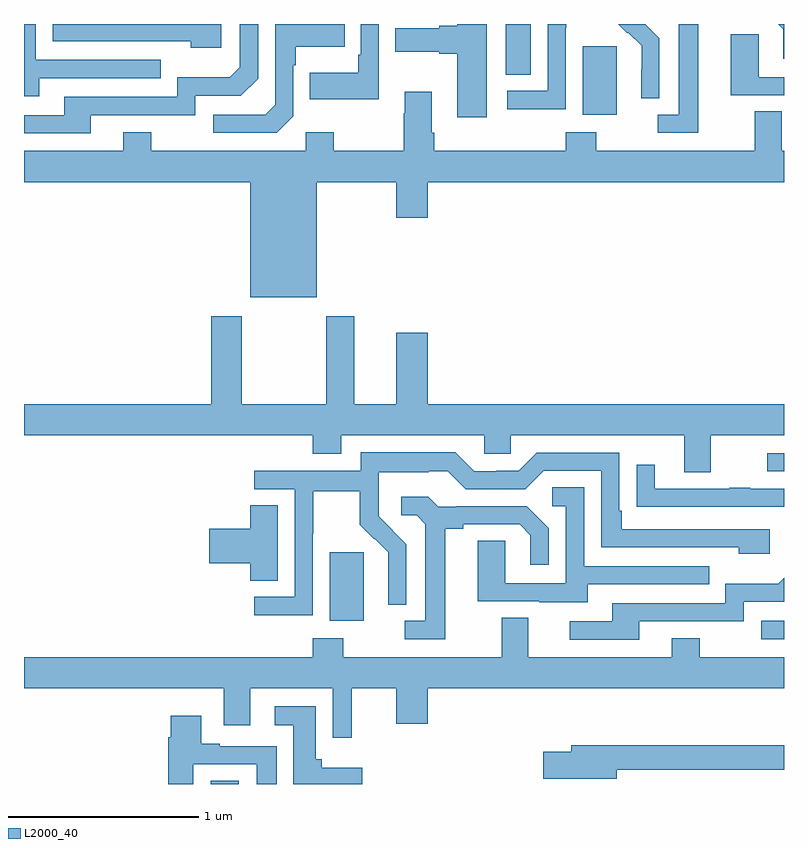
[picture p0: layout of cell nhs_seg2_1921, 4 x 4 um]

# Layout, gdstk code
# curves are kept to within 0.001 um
import gdstk
lib = gdstk.Library(unit=1e-6, precision=1e-09)
def R(c, l, rs):  # rectangles x0, y0, x1, y1
    for r in rs: c.add(gdstk.rectangle(r[:2], r[2:], *l))
def P(c, l, *ps):  # polygons
    for p in ps: c.add(gdstk.Polygon(p, *l))
L2000_40 = (2000, 40)

nhs_seg2_1921 = lib.new_cell('nhs_seg2_1921')
R(nhs_seg2_1921, L2000_40, [(211.982,645.8,212.131,645.818), (214.881,646.563,215,646.659), (212.609,646.658,212.788,647.019), (214.911,647.445,215,647.541), (213.941,649.322,214.12,649.683), (213.536,649.534,213.667,649.8)])
P(nhs_seg2_1921, L2000_40, [(213.436,649.8),(213.281,649.8),(213.281,649.79),(213.185,649.79),(213.185,649.777),(212.955,649.777),(212.955,649.655),(213.185,649.655),(213.185,649.643),(213.281,649.643),(213.281,649.308),(213.436,649.308)],
  [(211.351,649.32),(211.902,649.32),(211.902,649.422),(212.142,649.422),(212.232,649.512),(212.232,649.8),(212.136,649.8),(212.136,649.572),(212.083,649.519),(211.806,649.519),(211.806,649.416),(211.211,649.416),(211.211,649.32),(211,649.32),(211,649.224),(211.351,649.224)],
  [(212.038,649.8),(211.152,649.8),(211.152,649.71),(211.877,649.71),(211.877,649.676),(212.038,649.676)],
  [(214.549,649.8),(214.445,649.8),(214.445,649.323),(214.335,649.323),(214.335,649.227),(214.549,649.227)],
  [(211.081,649.515),(211.721,649.515),(211.721,649.611),(211.062,649.611),(211.062,649.8),(211,649.8),(211,649.421),(211.081,649.421)],
  [(212.868,649.8),(212.772,649.8),(212.772,649.639),(212.76,649.639),(212.76,649.543),(212.503,649.543),(212.503,649.403),(212.868,649.403)],
  [(215,649.8),(214.97,649.8),(214.997,649.773),(214.997,649.617),(215,649.617)],
  [(212.418,649.314),(212.418,649.583),(212.431,649.583),(212.431,649.679),(212.687,649.679),(212.687,649.8),(212.322,649.8),(212.322,649.374),(212.271,649.323),(211.995,649.323),(211.995,649.227),(212.331,649.227)],
  [(213.852,649.78),(213.855,649.78),(213.855,649.8),(213.756,649.8),(213.756,649.449),(213.543,649.449),(213.543,649.351),(213.852,649.351)],
  [(214.344,649.726),(214.271,649.799),(214.272,649.8),(214.128,649.8),(214.176,649.752),(214.179,649.755),(214.25,649.685),(214.25,649.562),(214.248,649.562),(214.248,649.408),(214.344,649.408)],
  [(215,649.521),(214.866,649.521),(214.866,649.745),(214.721,649.745),(214.721,649.425),(215,649.425)],
  [(212.542,648.968),(212.96,648.968),(212.96,648.78),(213.124,648.78),(213.124,648.968),(215,648.968),(215,649.132),(214.987,649.132),(214.987,649.34),(214.847,649.34),(214.847,649.132),(214.011,649.132),(214.011,649.231),(213.851,649.231),(213.851,649.132),(213.158,649.132),(213.158,649.228),(213.145,649.228),(213.145,649.444),(213.005,649.444),(213.005,649.331),(212.998,649.331),(212.998,649.132),(212.631,649.132),(212.631,649.231),(212.484,649.231),(212.484,649.132),(211.671,649.132),(211.671,649.231),(211.523,649.231),(211.523,649.132),(211,649.132),(211,648.968),(212.192,648.968),(212.192,648.362),(212.542,648.362)],
  [(214.615,647.636),(215,647.636),(215,647.8),(213.124,647.8),(213.124,648.175),(212.96,648.175),(212.96,647.8),(212.737,647.8),(212.737,648.262),(212.59,648.262),(212.59,647.8),(212.145,647.8),(212.145,648.262),(211.985,648.262),(211.985,647.8),(211,647.8),(211,647.636),(212.519,647.636),(212.519,647.537),(212.671,647.537),(212.671,647.636),(213.423,647.636),(213.423,647.538),(213.561,647.538),(213.561,647.636),(214.475,647.636),(214.475,647.442),(214.615,647.442)],
  [(212.52,647.116),(212.523,647.116),(212.523,647.34),(212.767,647.34),(212.767,647.165),(212.844,647.088),(212.847,647.091),(212.918,647.021),(212.918,646.898),(212.916,646.898),(212.916,646.744),(213.012,646.744),(213.012,647.062),(212.866,647.21),(212.866,647.307),(212.868,647.307),(212.868,647.441),(213.131,647.441),(213.131,647.445),(213.231,647.445),(213.324,647.352),(213.639,647.352),(213.735,647.448),(214.038,647.448),(214.038,647.046),(214.763,647.046),(214.763,647.012),(214.924,647.012),(214.924,647.142),(214.147,647.142),(214.147,647.239),(214.134,647.239),(214.134,647.544),(213.699,647.544),(213.603,647.448),(213.485,647.448),(213.485,647.445),(213.369,647.445),(213.269,647.545),(212.772,647.545),(212.772,647.448),(212.211,647.448),(212.211,647.352),(212.424,647.352),(212.424,646.785),(212.211,646.785),(212.211,646.687),(212.52,646.687)],
  [(215,647.355),(214.823,647.355),(214.823,647.36),(214.711,647.36),(214.711,647.355),(214.321,647.355),(214.321,647.479),(214.225,647.479),(214.225,647.26),(214.327,647.26),(214.327,647.259),(215,647.259)],
  [(213.967,646.851),(214.607,646.851),(214.607,646.947),(213.948,646.947),(213.948,647.363),(213.78,647.363),(213.78,647.262),(213.852,647.262),(213.852,646.857),(213.534,646.857),(213.534,647.081),(213.389,647.081),(213.389,646.761),(213.713,646.761),(213.713,646.757),(213.967,646.757)],
  [(213.217,647.144),(213.313,647.144),(213.313,647.166),(213.608,647.166),(213.665,647.109),(213.665,646.953),(213.762,646.953),(213.762,647.146),(213.646,647.262),(213.274,647.262),(213.274,647.259),(213.18,647.259),(213.128,647.311),(212.985,647.311),(212.985,647.214),(213.066,647.214),(213.113,647.167),(213.113,646.659),(213.003,646.659),(213.003,646.563),(213.217,646.563)],
  [(212.335,647.267),(212.192,647.267),(212.192,647.144),(211.974,647.144),(211.974,646.961),(212.192,646.961),(212.192,646.87),(212.335,646.87)],
  [(214.237,646.656),(214.788,646.656),(214.788,646.758),(215,646.758),(215,646.886),(214.969,646.855),(214.692,646.855),(214.692,646.752),(214.097,646.752),(214.097,646.656),(213.873,646.656),(213.873,646.56),(214.237,646.56)],
  [(212.724,646.304),(212.96,646.304),(212.96,646.116),(213.124,646.116),(213.124,646.304),(215,646.304),(215,646.468),(214.557,646.468),(214.557,646.567),(214.409,646.567),(214.409,646.468),(213.655,646.468),(213.655,646.676),(213.515,646.676),(213.515,646.468),(212.679,646.468),(212.679,646.567),(212.519,646.567),(212.519,646.468),(211,646.468),(211,646.304),(212.051,646.304),(212.051,646.11),(212.191,646.11),(212.191,646.304),(212.625,646.304),(212.625,646.044),(212.724,646.044)],
  [(212.779,645.886),(212.567,645.886),(212.567,645.93),(212.536,645.93),(212.536,646.21),(212.319,646.21),(212.319,646.109),(212.417,646.109),(212.417,645.8),(212.779,645.8)],
  [(211.891,645.903),(212.225,645.903),(212.225,645.8),(212.329,645.8),(212.329,645.999),(212.029,645.999),(212.029,646.012),(211.933,646.012),(211.933,646.159),(211.772,646.159),(211.772,646.046),(211.76,646.046),(211.76,645.8),(211.891,645.8)],
  [(214.12,645.874),(215,645.874),(215,646.003),(213.881,646.003),(213.881,645.969),(213.732,645.969),(213.732,645.827),(214.12,645.827)])

lib.write_gds('nhs_seg2_1921.gds')
